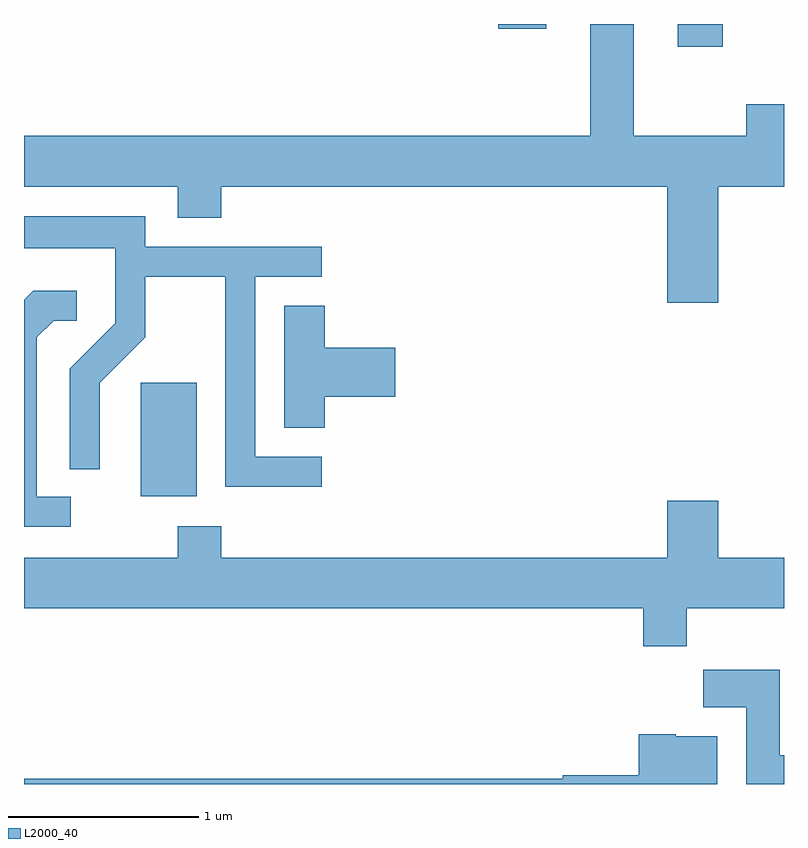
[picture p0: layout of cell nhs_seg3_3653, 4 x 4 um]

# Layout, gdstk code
import gdstk
lib = gdstk.Library(unit=1e-6, precision=1e-09)
def R(c, l, rs):  # rectangles x0, y0, x1, y1
    for r in rs: c.add(gdstk.rectangle(r[:2], r[2:], *l))
def P(c, l, *ps):  # polygons
    for p in ps: c.add(gdstk.Polygon(p, *l))
L2000_40 = (2000, 40)

nhs_seg3_3653 = lib.new_cell('nhs_seg3_3653')
R(nhs_seg3_3653, L2000_40, [(292.226,1215.406,292.519,1216.004), (295.051,1217.771,295.288,1217.892), (294.106,1217.866,294.359,1217.892)])
P(nhs_seg3_3653, L2000_40, [(294.591,1217.892),(294.591,1217.304),(291.611,1217.304),(291.611,1217.036),(292.421,1217.036),(292.421,1216.871),(292.649,1216.871),(292.649,1217.036),(294.996,1217.036),(294.996,1216.426),(295.264,1216.426),(295.264,1217.036),(295.611,1217.036),(295.611,1217.469),(295.411,1217.469),(295.411,1217.304),(294.819,1217.304),(294.819,1217.892)],
  [(293.178,1215.614),(292.829,1215.614),(292.829,1216.561),(293.178,1216.561),(293.178,1216.719),(292.249,1216.719),(292.249,1216.879),(291.611,1216.879),(291.611,1216.711),(292.091,1216.711),(292.091,1216.317),(291.851,1216.077),(291.851,1215.548),(292.009,1215.548),(292.009,1216.004),(292.249,1216.244),(292.249,1216.561),(292.671,1216.561),(292.671,1215.456),(293.178,1215.456)],
  [(291.858,1215.404),(291.679,1215.404),(291.679,1216.244),(291.767,1216.331),(291.888,1216.331),(291.888,1216.489),(291.659,1216.489),(291.611,1216.441),(291.611,1215.246),(291.858,1215.246)],
  [(293.194,1215.931),(293.564,1215.931),(293.564,1216.189),(293.194,1216.189),(293.194,1216.409),(292.981,1216.409),(292.981,1215.766),(293.194,1215.766)],
  [(295.099,1214.816),(295.611,1214.816),(295.611,1215.084),(295.264,1215.084),(295.264,1215.384),(294.996,1215.384),(294.996,1215.084),(292.649,1215.084),(292.649,1215.249),(292.421,1215.249),(292.421,1215.084),(291.611,1215.084),(291.611,1214.816),(294.871,1214.816),(294.871,1214.616),(295.099,1214.616)],
  [(295.611,1214.044),(295.589,1214.044),(295.589,1214.494),(295.186,1214.494),(295.186,1214.296),(295.411,1214.296),(295.411,1213.892),(295.611,1213.892)],
  [(295.259,1214.144),(295.04,1214.144),(295.04,1214.154),(294.846,1214.154),(294.846,1213.939),(294.446,1213.939),(294.446,1213.919),(291.611,1213.919),(291.611,1213.892),(295.259,1213.892)])

lib.write_gds('nhs_seg3_3653.gds')
